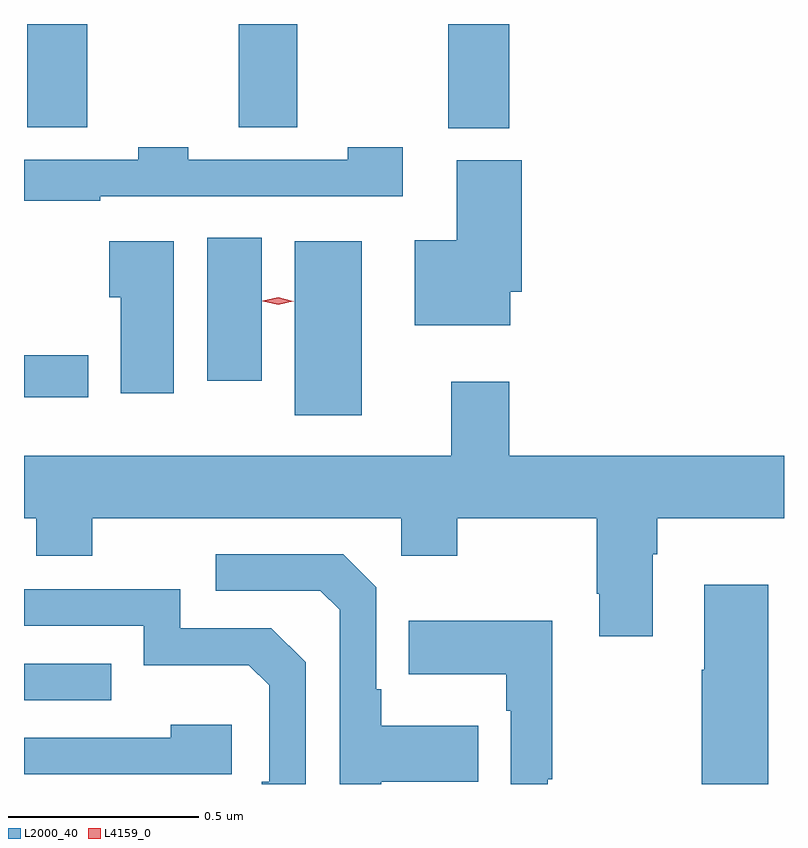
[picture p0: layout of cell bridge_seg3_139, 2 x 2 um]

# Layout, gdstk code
import gdstk
lib = gdstk.Library(unit=1e-6, precision=1e-09)
def R(c, l, rs):  # rectangles x0, y0, x1, y1
    for r in rs: c.add(gdstk.rectangle(r[:2], r[2:], *l))
def P(c, l, *ps):  # polygons
    for p in ps: c.add(gdstk.Polygon(p, *l))
L2000_40 = (2000, 40)
L4159_0 = (4159, 0)

bridge_seg3_139 = lib.new_cell('bridge_seg3_139')
R(bridge_seg3_139, L2000_40, [(206.163,683.121,206.393,683.217), (206.876,683.871,207.052,684.328), (206.163,683.918,206.332,684.028), (206.645,683.961,206.788,684.337), (207.28,684.626,207.44,684.9), (206.171,684.628,206.33,684.9), (206.728,684.628,206.882,684.9)])
P(bridge_seg3_139, L2000_40, [(206.363,684.447),(207.16,684.447),(207.16,684.576),(207.015,684.576),(207.015,684.543),(206.595,684.543),(206.595,684.576),(206.463,684.576),(206.463,684.543),(206.163,684.543),(206.163,684.435),(206.363,684.435)],
  [(207.442,684.195),(207.473,684.195),(207.473,684.541),(207.302,684.541),(207.302,684.331),(207.191,684.331),(207.191,684.107),(207.442,684.107)],
  [(206.557,684.328),(206.387,684.328),(206.387,684.181),(206.417,684.181),(206.417,683.928),(206.557,683.928)],
  [(207.817,683.504),(207.83,683.504),(207.83,683.6),(208.163,683.6),(208.163,683.764),(207.44,683.764),(207.44,683.959),(207.287,683.959),(207.287,683.764),(206.163,683.764),(206.163,683.6),(206.195,683.6),(206.195,683.501),(206.343,683.501),(206.343,683.6),(207.156,683.6),(207.156,683.501),(207.303,683.501),(207.303,683.6),(207.67,683.6),(207.67,683.401),(207.677,683.401),(207.677,683.289),(207.817,683.289)],
  [(207.103,682.906),(207.359,682.906),(207.359,683.053),(207.103,683.053),(207.103,683.149),(207.09,683.149),(207.09,683.418),(207.003,683.505),(206.667,683.505),(206.667,683.409),(206.943,683.409),(206.994,683.358),(206.994,682.9),(207.103,682.9)],
  [(208.121,683.425),(207.953,683.425),(207.953,683.201),(207.946,683.201),(207.946,682.9),(208.121,682.9)],
  [(206.904,683.22),(206.814,683.31),(206.574,683.31),(206.574,683.412),(206.163,683.412),(206.163,683.316),(206.478,683.316),(206.478,683.213),(206.755,683.213),(206.808,683.16),(206.808,682.906),(206.788,682.906),(206.788,682.9),(206.904,682.9)],
  [(207.541,682.913),(207.553,682.913),(207.553,683.329),(207.175,683.329),(207.175,683.189),(207.432,683.189),(207.432,683.093),(207.444,683.093),(207.444,682.9),(207.541,682.9)],
  [(206.71,683.056),(206.549,683.056),(206.549,683.022),(206.163,683.022),(206.163,682.926),(206.71,682.926)])
P(bridge_seg3_139, L4159_0, [(206.832,684.161),(206.791,684.171),(206.791,684.172),(206.791,684.172),(206.832,684.181),(206.872,684.171),(206.873,684.171),(206.872,684.171)])

lib.write_gds('bridge_seg3_139.gds')
